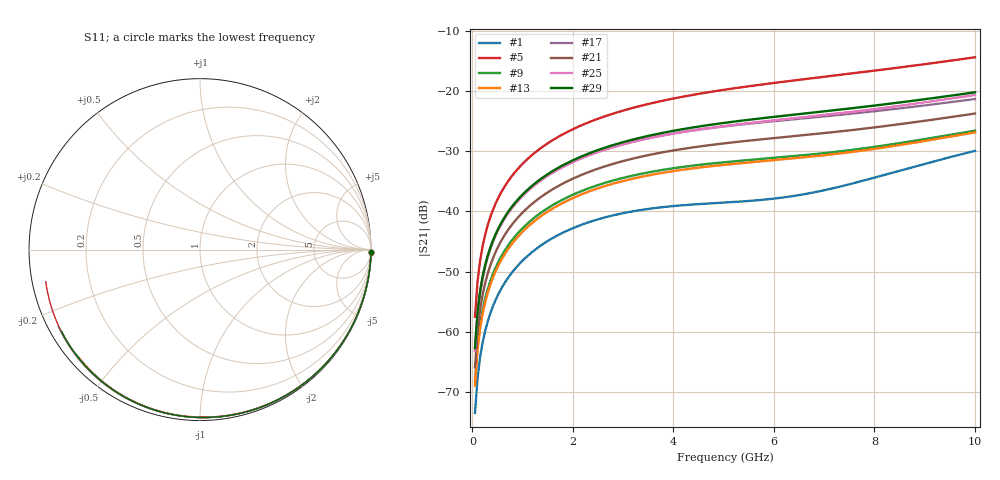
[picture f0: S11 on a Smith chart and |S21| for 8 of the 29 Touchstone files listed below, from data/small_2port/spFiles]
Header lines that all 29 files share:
! freq	dB(S11)	phase(S11)	dB(S12)	phase(S12)
!  dB(S21)	phase(S21)	dB(S22)	phase(S22)
!S-par simulation data
#  GHz  S  DB  R 50
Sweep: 50 MHz to 10 GHz
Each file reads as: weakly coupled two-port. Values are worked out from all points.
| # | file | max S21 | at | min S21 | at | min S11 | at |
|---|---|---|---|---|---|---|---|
| 1 | randomSmallGDS_pixelSize=8_sim=805.s2p | -29.92 dB | 10 GHz | -73.5 dB | 50 MHz | -0.5 dB | 10 GHz |
| 2 | randomSmallGDS_pixelSize=8_sim=806.s2p | -24.81 dB | 10 GHz | -66.3 dB | 50 MHz | -0.5 dB | 10 GHz |
| 3 | randomSmallGDS_pixelSize=8_sim=807.s2p | -27.34 dB | 10 GHz | -69.6 dB | 50 MHz | -0.5 dB | 10 GHz |
| 4 | randomSmallGDS_pixelSize=8_sim=808.s2p | -25.47 dB | 10 GHz | -67.1 dB | 50 MHz | -0.5 dB | 10 GHz |
| 5 | randomSmallGDS_pixelSize=8_sim=810.s2p | -14.35 dB | 10 GHz | -57.5 dB | 50 MHz | -0.7 dB | 10 GHz |
| 6 | randomSmallGDS_pixelSize=8_sim=811.s2p | -25.88 dB | 10 GHz | -68.1 dB | 50 MHz | -0.5 dB | 10 GHz |
| 7 | randomSmallGDS_pixelSize=8_sim=812.s2p | -13.13 dB | 10 GHz | -55.9 dB | 50 MHz | -0.8 dB | 10 GHz |
| 8 | randomSmallGDS_pixelSize=8_sim=813.s2p | -26.19 dB | 10 GHz | -67.9 dB | 50 MHz | -0.5 dB | 10 GHz |
| 9 | randomSmallGDS_pixelSize=8_sim=814.s2p | -26.56 dB | 10 GHz | -68.4 dB | 50 MHz | -0.5 dB | 10 GHz |
| 10 | randomSmallGDS_pixelSize=8_sim=816.s2p | -26.61 dB | 10 GHz | -68.8 dB | 50 MHz | -0.5 dB | 10 GHz |
| 11 | randomSmallGDS_pixelSize=8_sim=817.s2p | -14.13 dB | 10 GHz | -57.0 dB | 50 MHz | -0.7 dB | 10 GHz |
| 12 | randomSmallGDS_pixelSize=8_sim=818.s2p | -24.05 dB | 10 GHz | -66.4 dB | 50 MHz | -0.5 dB | 10 GHz |
| 13 | randomSmallGDS_pixelSize=8_sim=820.s2p | -26.84 dB | 10 GHz | -69.0 dB | 50 MHz | -0.5 dB | 10 GHz |
| 14 | randomSmallGDS_pixelSize=8_sim=821.s2p | -29.95 dB | 10 GHz | -73.4 dB | 50 MHz | -0.5 dB | 10 GHz |
| 15 | randomSmallGDS_pixelSize=8_sim=822.s2p | -26.90 dB | 10 GHz | -68.2 dB | 50 MHz | -0.5 dB | 10 GHz |
| 16 | randomSmallGDS_pixelSize=8_sim=823.s2p | -12.15 dB | 10 GHz | -56.4 dB | 50 MHz | -0.9 dB | 10 GHz |
| 17 | randomSmallGDS_pixelSize=8_sim=824.s2p | -21.29 dB | 10 GHz | -63.1 dB | 50 MHz | -0.5 dB | 10 GHz |
| 18 | randomSmallGDS_pixelSize=8_sim=825.s2p | -17.60 dB | 10 GHz | -60.4 dB | 50 MHz | -0.5 dB | 10 GHz |
| 19 | randomSmallGDS_pixelSize=8_sim=827.s2p | -25.88 dB | 10 GHz | -67.9 dB | 50 MHz | -0.5 dB | 10 GHz |
| 20 | randomSmallGDS_pixelSize=8_sim=828.s2p | -28.16 dB | 10 GHz | -70.2 dB | 50 MHz | -0.5 dB | 10 GHz |
| 21 | randomSmallGDS_pixelSize=8_sim=829.s2p | -23.71 dB | 10 GHz | -65.9 dB | 50 MHz | -0.5 dB | 10 GHz |
| 22 | randomSmallGDS_pixelSize=8_sim=830.s2p | -15.20 dB | 10 GHz | -58.9 dB | 50 MHz | -0.6 dB | 10 GHz |
| 23 | randomSmallGDS_pixelSize=8_sim=831.s2p | -16.00 dB | 10 GHz | -59.0 dB | 50 MHz | -0.7 dB | 10 GHz |
| 24 | randomSmallGDS_pixelSize=8_sim=832.s2p | -27.15 dB | 10 GHz | -69.1 dB | 50 MHz | -0.5 dB | 10 GHz |
| 25 | randomSmallGDS_pixelSize=8_sim=833.s2p | -20.63 dB | 10 GHz | -63.2 dB | 50 MHz | -0.5 dB | 10 GHz |
| 26 | randomSmallGDS_pixelSize=8_sim=834.s2p | -24.61 dB | 10 GHz | -66.0 dB | 50 MHz | -0.5 dB | 10 GHz |
| 27 | randomSmallGDS_pixelSize=8_sim=836.s2p | -30.48 dB | 10 GHz | -75.0 dB | 50 MHz | -0.4 dB | 10 GHz |
| 28 | randomSmallGDS_pixelSize=8_sim=837.s2p | -15.03 dB | 10 GHz | -57.7 dB | 50 MHz | -0.6 dB | 10 GHz |
| 29 | randomSmallGDS_pixelSize=8_sim=840.s2p | -20.18 dB | 10 GHz | -62.7 dB | 50 MHz | -0.5 dB | 10 GHz |
